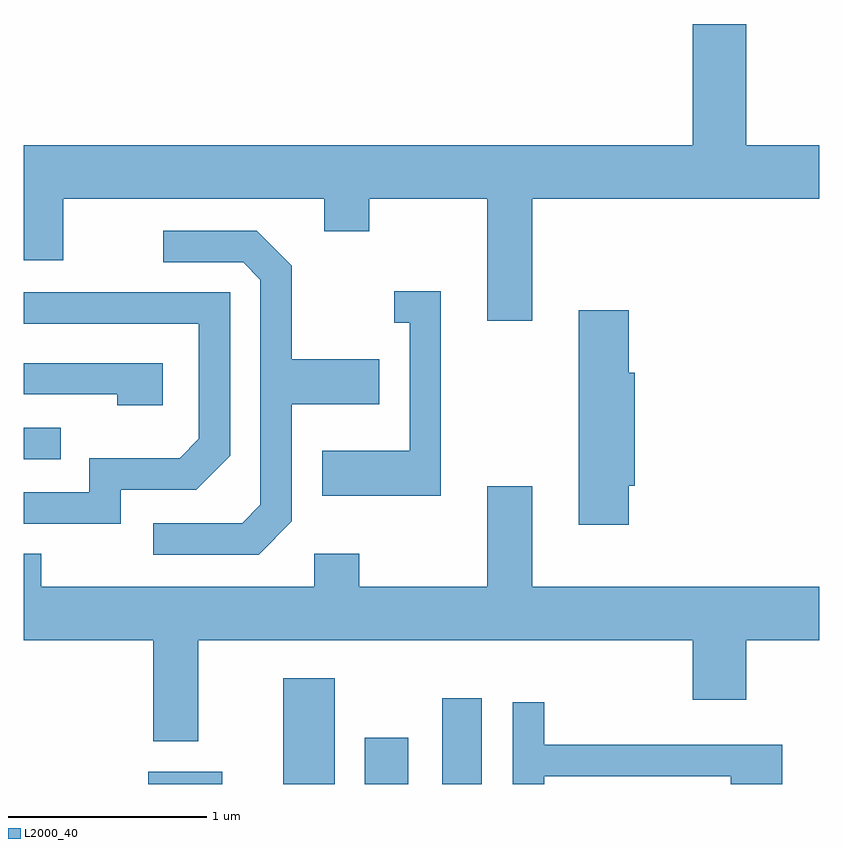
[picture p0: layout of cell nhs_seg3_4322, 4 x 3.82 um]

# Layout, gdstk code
import gdstk
lib = gdstk.Library(unit=1e-6, precision=1e-09)
def R(c, l, rs):  # rectangles x0, y0, x1, y1
    for r in rs: c.add(gdstk.rectangle(r[:2], r[2:], *l))
def P(c, l, *ps):  # polygons
    for p in ps: c.add(gdstk.Polygon(p, *l))
L2000_40 = (2000, 40)

nhs_seg3_4322 = lib.new_cell('nhs_seg3_4322')
R(nhs_seg3_4322, L2000_40, [(312.236,1191.892,312.609,1191.954), (312.916,1191.892,313.174,1192.424), (313.326,1191.892,313.544,1192.124), (313.716,1191.892,313.914,1192.324), (311.611,1193.526,311.798,1193.684)])
P(nhs_seg3_4322, L2000_40, [(314.169,1194.836),(315.611,1194.836),(315.611,1195.104),(315.244,1195.104),(315.244,1195.714),(314.976,1195.714),(314.976,1195.104),(311.611,1195.104),(311.611,1194.526),(311.809,1194.526),(311.809,1194.836),(313.121,1194.836),(313.121,1194.671),(313.349,1194.671),(313.349,1194.836),(313.941,1194.836),(313.941,1194.221),(314.169,1194.221)],
  [(312.959,1193.214),(312.959,1193.801),(313.399,1193.801),(313.399,1194.029),(312.959,1194.029),(312.959,1194.497),(312.782,1194.674),(312.313,1194.674),(312.313,1194.516),(312.714,1194.516),(312.801,1194.429),(312.801,1193.297),(312.709,1193.204),(312.263,1193.204),(312.263,1193.046),(312.792,1193.046)],
  [(313.709,1194.369),(313.473,1194.369),(313.473,1194.211),(313.551,1194.211),(313.551,1193.569),(313.111,1193.569),(313.111,1193.341),(313.709,1193.341)],
  [(312.099,1193.371),(312.477,1193.371),(312.649,1193.544),(312.649,1194.364),(311.611,1194.364),(311.611,1194.206),(312.491,1194.206),(312.491,1193.627),(312.394,1193.529),(311.941,1193.529),(311.941,1193.359),(311.611,1193.359),(311.611,1193.201),(312.099,1193.201)],
  [(314.654,1193.391),(314.684,1193.391),(314.684,1193.959),(314.654,1193.959),(314.654,1194.274),(314.401,1194.274),(314.401,1193.196),(314.654,1193.196)],
  [(312.309,1194.009),(311.611,1194.009),(311.611,1193.851),(312.081,1193.851),(312.081,1193.796),(312.309,1193.796)],
  [(312.489,1192.616),(314.976,1192.616),(314.976,1192.316),(315.244,1192.316),(315.244,1192.616),(315.611,1192.616),(315.611,1192.884),(314.169,1192.884),(314.169,1193.389),(313.941,1193.389),(313.941,1192.884),(313.299,1192.884),(313.299,1193.049),(313.071,1193.049),(313.071,1192.884),(311.699,1192.884),(311.699,1193.049),(311.611,1193.049),(311.611,1192.616),(312.261,1192.616),(312.261,1192.106),(312.489,1192.106)],
  [(314.229,1191.931),(315.166,1191.931),(315.166,1191.892),(315.424,1191.892),(315.424,1192.089),(314.229,1192.089),(314.229,1192.303),(314.071,1192.303),(314.071,1191.892),(314.229,1191.892)])

lib.write_gds('nhs_seg3_4322.gds')
